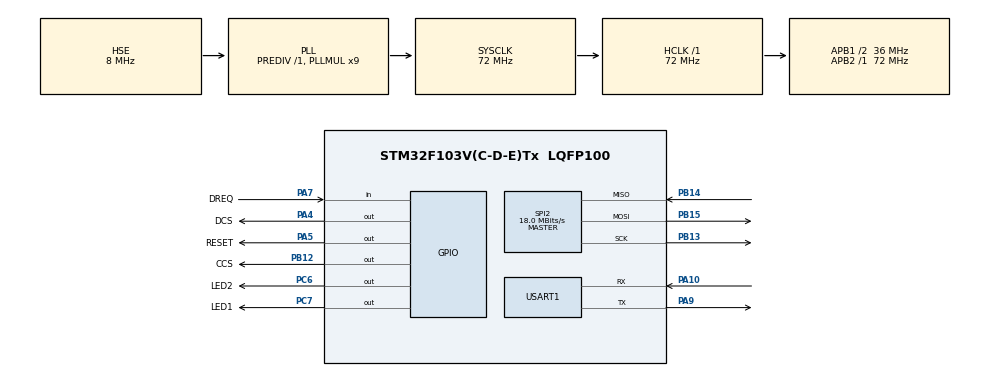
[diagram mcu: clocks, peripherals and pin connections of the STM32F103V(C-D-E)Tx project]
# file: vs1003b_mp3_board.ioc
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Mcu.Family=STM32F1
Mcu.Name=STM32F103V(C-D-E)Tx
Mcu.Package=LQFP100
NVIC.PriorityGroup=NVIC_PRIORITYGROUP_4
OSC_IN.Mode=HSE-External-Oscillator
OSC_IN.Signal=RCC_OSC_IN
OSC_OUT.Mode=HSE-External-Oscillator
OSC_OUT.Signal=RCC_OSC_OUT
PA10.Mode=Asynchronous
PA10.Signal=USART1_RX
PA4.GPIO_Label=DCS
PA4.GPIO_Speed=GPIO_SPEED_FREQ_HIGH
PA4.Signal=GPIO_Output
PA5.GPIO_Label=RESET
PA5.GPIO_PuPd=GPIO_NOPULL
PA5.GPIO_Speed=GPIO_SPEED_FREQ_HIGH
PA5.PinState=GPIO_PIN_RESET
PA5.Signal=GPIO_Output
PA7.GPIO_Label=DREQ
PA7.Signal=GPIO_Input
PA9.Mode=Asynchronous
PA9.Signal=USART1_TX
PB12.GPIO_Label=CCS
PB12.GPIO_Speed=GPIO_SPEED_FREQ_HIGH
PB12.Signal=GPIO_Output
PB13.Mode=Full_Duplex_Master
PB13.Signal=SPI2_SCK
PB14.Mode=Full_Duplex_Master
PB14.Signal=SPI2_MISO
PB15.Mode=Full_Duplex_Master
PB15.Signal=SPI2_MOSI
PC6.GPIO_Label=LED2
PC6.Signal=GPIO_Output
PC7.GPIO_Label=LED1
PC7.Signal=GPIO_Output
ProjectManager.HeapSize=0x200
ProjectManager.StackSize=0x400
ProjectManager.TargetToolchain=MDK-ARM V5
RCC.AHBFreq_Value=72000000
RCC.APB1CLKDivider=RCC_HCLK_DIV2
RCC.APB1Freq_Value=36000000
RCC.APB1TimFreq_Value=72000000
RCC.APB2Freq_Value=72000000
RCC.APB2TimFreq_Value=72000000
RCC.HCLKFreq_Value=72000000
RCC.PLLMUL=RCC_PLL_MUL9
RCC.PLLSourceVirtual=RCC_PLLSOURCE_HSE
RCC.SYSCLKFreq_VALUE=72000000
RCC.SYSCLKSource=RCC_SYSCLKSOURCE_PLLCLK
RCC.USBFreq_Value=72000000
SPI2.BaudRatePrescaler=SPI_BAUDRATEPRESCALER_2
SPI2.CLKPhase=SPI_PHASE_2EDGE
SPI2.CLKPolarity=SPI_POLARITY_HIGH
SPI2.CRCCalculation=SPI_CRCCALCULATION_DISABLE
SPI2.CalculateBaudRate=18.0 MBits/s
SPI2.Direction=SPI_DIRECTION_2LINES
SPI2.Mode=SPI_MODE_MASTER
SPI2.VirtualType=VM_MASTER
USART1.VirtualMode=VM_ASYNC
VP_SYS_VS_ND.Mode=No_Debug
board=custom

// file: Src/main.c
/**
  ******************************************************************************
  * @file           : main.c
  * @brief          : Main program body
  ******************************************************************************
  ** This notice applies to any and all portions of this file
  * that are not between comment pairs USER CODE BEGIN and
  * USER CODE END. Other portions of this file, whether
  * inserted by the user or by software development tools
  * are owned by their respective copyright owners.
  *
  * COPYRIGHT(c) 2018 STMicroelectronics
  *
  * Redistribution and use in source and binary forms, with or without modification,
  * are permitted provided that the following conditions are met:
  *   1. Redistributions of source code must retain the above copyright notice,
  *      this list of conditions and the following disclaimer.
  *   2. Redistributions in binary form must reproduce the above copyright notice,
  *      this list of conditions and the following disclaimer in the documentation
  *      and/or other materials provided with the distribution.
  *   3. Neither the name of STMicroelectronics nor the names of its contributors
  *      may be used to endorse or promote products derived from this software
  *      without specific prior written permission.
  *
  * THIS SOFTWARE IS PROVIDED BY THE COPYRIGHT HOLDERS AND CONTRIBUTORS "AS IS"
  * AND ANY EXPRESS OR IMPLIED WARRANTIES, INCLUDING, BUT NOT LIMITED TO, THE
  * IMPLIED WARRANTIES OF MERCHANTABILITY AND FITNESS FOR A PARTICULAR PURPOSE ARE
  * DISCLAIMED. IN NO EVENT SHALL THE COPYRIGHT HOLDER OR CONTRIBUTORS BE LIABLE
  * FOR ANY DIRECT, INDIRECT, INCIDENTAL, SPECIAL, EXEMPLARY, OR CONSEQUENTIAL
  * DAMAGES (INCLUDING, BUT NOT LIMITED TO, PROCUREMENT OF SUBSTITUTE GOODS OR
  * SERVICES; LOSS OF USE, DATA, OR PROFITS; OR BUSINESS INTERRUPTION) HOWEVER
  * CAUSED AND ON ANY THEORY OF LIABILITY, WHETHER IN CONTRACT, STRICT LIABILITY,
  * OR TORT (INCLUDING NEGLIGENCE OR OTHERWISE) ARISING IN ANY WAY OUT OF THE USE
  * OF THIS SOFTWARE, EVEN IF ADVISED OF THE POSSIBILITY OF SUCH DAMAGE.
  *
  ******************************************************************************
  */
#include "main.h"
#include "stm32f1xx_hal.h"
#include "spi.h"
#include "usart.h"
#include "gpio.h"

/* USER CODE BEGIN Includes */
#include "vs1003.h"

/* USER CODE END Includes */

/* USER CODE BEGIN PV */
/* Private variables ---------------------------------------------------------*/
#define GPIO_TEST 0
#define LINE_OUT_TEST 1
#define LINE_IN_TEST 0
/* USER CODE END PV */

void SystemClock_Config(void);

/* USER CODE BEGIN PFP */
/* Private function prototypes -----------------------------------------------*/

/* USER CODE END PFP */

int main(void)
{

  /* MCU Configuration----------------------------------------------------------*/

  /* Reset of all peripherals, Initializes the Flash interface and the Systick. */
  HAL_Init();

  /* Configure the system clock */
  SystemClock_Config();

  /* Initialize all configured peripherals */
  MX_GPIO_Init();
  MX_SPI2_Init();
  MX_USART1_UART_Init();
  /* USER CODE BEGIN 2 */

	printf("\r\nProgram Start\r\n");

  VS1003_Init();
  VS1003_SoftReset();

  /* Check VS10xx type */
  printf("Chip is VS %d\r\n", ((VS1003_ReadReg(SPI_STATUS) >> 4) & 0xF));

#if GPIO_TEST
	VS1003_WriteReg(SPI_WRAMADDR, 0xc017);
	VS1003_WriteReg(SPI_WRAM, 0x000f);
#endif
#if LINE_IN_TEST
	VS1003_LineIn_Init();
#endif

  /* USER CODE END 2 */

  /* Infinite loop */
  /* USER CODE BEGIN WHILE */
  while (1)
  {
		LED1_CTRL(GPIO_TOGGLE);
  /* USER CODE END WHILE */

  /* USER CODE BEGIN 3 */
#if LINE_OUT_TEST
		//VS1003_SineTest();
		VS1003_PlayBeep();
		HAL_Delay(1000);
#endif

#if GPIO_TEST
		VS1003_WriteReg(SPI_WRAMADDR, 0xc019);
		VS1003_WriteReg(SPI_WRAM, 0x000f);
		HAL_Delay(500);

		VS1003_WriteReg(SPI_WRAMADDR, 0xc019);
		VS1003_WriteReg(SPI_WRAM, 0x0000);
		HAL_Delay(500);
#endif
  }
  /* USER CODE END 3 */

}

void SystemClock_Config(void)
{

  RCC_OscInitTypeDef RCC_OscInitStruct;
  RCC_ClkInitTypeDef RCC_ClkInitStruct;

    /**Initializes the CPU, AHB and APB busses clocks
    */
  RCC_OscInitStruct.OscillatorType = RCC_OSCILLATORTYPE_HSE;
  RCC_OscInitStruct.HSEState = RCC_HSE_ON;
  RCC_OscInitStruct.HSEPredivValue = RCC_HSE_PREDIV_DIV1;
  RCC_OscInitStruct.HSIState = RCC_HSI_ON;
  RCC_OscInitStruct.PLL.PLLState = RCC_PLL_ON;
  RCC_OscInitStruct.PLL.PLLSource = RCC_PLLSOURCE_HSE;
  RCC_OscInitStruct.PLL.PLLMUL = RCC_PLL_MUL9;
  if (HAL_RCC_OscConfig(&RCC_OscInitStruct) != HAL_OK)
  {
    _Error_Handler(__FILE__, __LINE__);
  }

    /**Initializes the CPU, AHB and APB busses clocks
    */
  RCC_ClkInitStruct.ClockType = RCC_CLOCKTYPE_HCLK|RCC_CLOCKTYPE_SYSCLK
                              |RCC_CLOCKTYPE_PCLK1|RCC_CLOCKTYPE_PCLK2;
  RCC_ClkInitStruct.SYSCLKSource = RCC_SYSCLKSOURCE_PLLCLK;
  RCC_ClkInitStruct.AHBCLKDivider = RCC_SYSCLK_DIV1;
  RCC_ClkInitStruct.APB1CLKDivider = RCC_HCLK_DIV2;
  RCC_ClkInitStruct.APB2CLKDivider = RCC_HCLK_DIV1;

  if (HAL_RCC_ClockConfig(&RCC_ClkInitStruct, FLASH_LATENCY_2) != HAL_OK)
  {
    _Error_Handler(__FILE__, __LINE__);
  }

    /**Configure the Systick interrupt time
    */
  HAL_SYSTICK_Config(HAL_RCC_GetHCLKFreq()/1000);

    /**Configure the Systick
    */
  HAL_SYSTICK_CLKSourceConfig(SYSTICK_CLKSOURCE_HCLK);

  /* SysTick_IRQn interrupt configuration */
  HAL_NVIC_SetPriority(SysTick_IRQn, 0, 0);
}

void _Error_Handler(char *file, int line)
{
  /* USER CODE BEGIN Error_Handler_Debug */
  /* User can add his own implementation to report the HAL error return state */
  while(1)
  {
  	LED2_CTRL(GPIO_TOGGLE);
	HAL_Delay(500);
  }
  /* USER CODE END Error_Handler_Debug */
}

/************************ (C) COPYRIGHT STMicroelectronics *****END OF FILE****/
